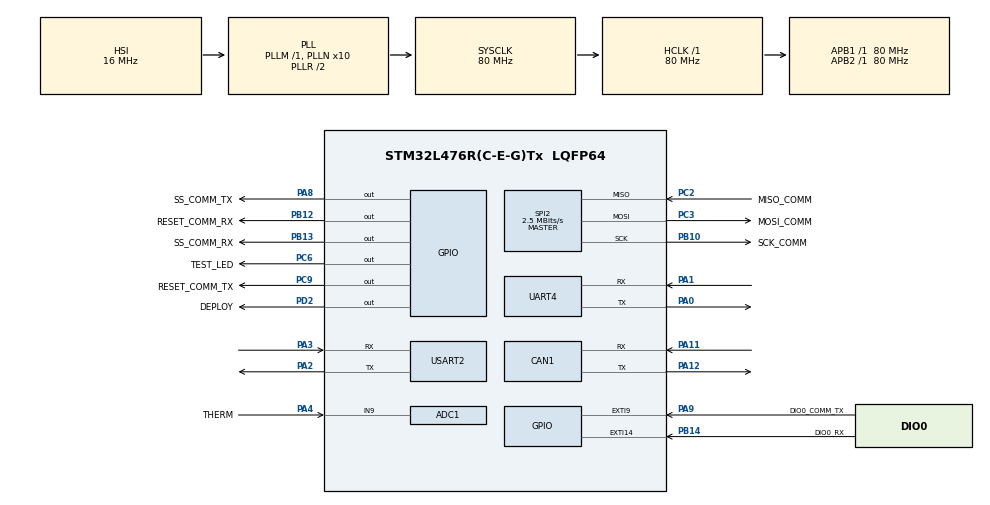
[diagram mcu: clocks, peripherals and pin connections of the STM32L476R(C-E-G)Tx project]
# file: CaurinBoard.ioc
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ADC1.Channel-0\#ChannelRegularConversion=ADC_CHANNEL_9
ADC1.NbrOfConversionFlag=1
ADC1.OffsetNumber-0\#ChannelRegularConversion=ADC_OFFSET_NONE
ADC1.Rank-0\#ChannelRegularConversion=1
ADC1.SamplingTime-0\#ChannelRegularConversion=ADC_SAMPLETIME_2CYCLES_5
ADC1.master=1
CAN1.BS1=CAN_BS1_4TQ
CAN1.CalculateTimeQuantum=200.0
Mcu.Family=STM32L4
Mcu.Name=STM32L476R(C-E-G)Tx
Mcu.Package=LQFP64
NVIC.EXTI15_10_IRQn=true\:0\:0\:false\:false\:true\:true\:true
NVIC.EXTI9_5_IRQn=true\:0\:0\:false\:false\:true\:true\:true
NVIC.PriorityGroup=NVIC_PRIORITYGROUP_4
PA0.Mode=Asynchronous
PA0.Signal=UART4_TX
PA1.Mode=Asynchronous
PA1.Signal=UART4_RX
PA11.Mode=Master
PA11.Signal=CAN1_RX
PA12.Mode=Master
PA12.Signal=CAN1_TX
PA13\ (JTMS-SWDIO).Mode=JTAG_5_pins
PA13\ (JTMS-SWDIO).Signal=SYS_JTMS-SWDIO
PA14\ (JTCK-SWCLK).Mode=JTAG_5_pins
PA14\ (JTCK-SWCLK).Signal=SYS_JTCK-SWCLK
PA15\ (JTDI).Mode=JTAG_5_pins
PA15\ (JTDI).Signal=SYS_JTDI
PA2.Mode=Asynchronous
PA2.Signal=USART2_TX
PA3.Mode=Asynchronous
PA3.Signal=USART2_RX
PA4.GPIO_Label=THERM
PA4.Signal=ADCx_IN9
PA8.GPIO_Label=SS_COMM_TX
PA8.PinState=GPIO_PIN_SET
PA8.Signal=GPIO_Output
PA9.GPIO_Label=DIO0_COMM_TX
PA9.Signal=GPXTI9
PB10.GPIO_Label=SCK_COMM
PB10.Mode=Full_Duplex_Master
PB10.Signal=SPI2_SCK
PB12.GPIO_Label=RESET_COMM_RX
PB12.PinState=GPIO_PIN_SET
PB12.Signal=GPIO_Output
PB13.GPIO_Label=SS_COMM_RX
PB13.PinState=GPIO_PIN_SET
PB13.Signal=GPIO_Output
PB14.GPIO_Label=DIO0_RX
PB14.Signal=GPXTI14
PB3\ (JTDO-TRACESWO).Mode=JTAG_5_pins
PB3\ (JTDO-TRACESWO).Signal=SYS_JTDO-SWO
PB4\ (NJTRST).Mode=JTAG_5_pins
PB4\ (NJTRST).Signal=SYS_JTRST
PC14-OSC32_IN\ (PC14).Mode=LSE-External-Oscillator
PC14-OSC32_IN\ (PC14).Signal=RCC_OSC32_IN
PC15-OSC32_OUT\ (PC15).Mode=LSE-External-Oscillator
PC15-OSC32_OUT\ (PC15).Signal=RCC_OSC32_OUT
PC2.GPIO_Label=MISO_COMM
PC2.Mode=Full_Duplex_Master
PC2.Signal=SPI2_MISO
PC3.GPIO_Label=MOSI_COMM
PC3.Mode=Full_Duplex_Master
PC3.Signal=SPI2_MOSI
PC6.GPIO_Label=TEST_LED
PC6.Signal=GPIO_Output
PC9.GPIO_Label=RESET_COMM_TX
PC9.PinState=GPIO_PIN_SET
PC9.Signal=GPIO_Output
PD2.GPIO_Label=DEPLOY
PD2.Signal=GPIO_Output
ProjectManager.HeapSize=0x200
ProjectManager.StackSize=0x400
ProjectManager.TargetToolchain=STM32CubeIDE
RCC.ADCFreq_Value=64000000
RCC.AHBFreq_Value=80000000
RCC.APB1Freq_Value=80000000
RCC.APB1TimFreq_Value=80000000
RCC.APB2Freq_Value=80000000
RCC.APB2TimFreq_Value=80000000
RCC.CortexFreq_Value=80000000
RCC.HCLKFreq_Value=80000000
RCC.HSE_VALUE=8000000
RCC.HSI_VALUE=16000000
RCC.MSI_VALUE=4000000
RCC.PLLN=10
RCC.PLLSourceVirtual=RCC_PLLSOURCE_HSI
RCC.SYSCLKFreq_VALUE=80000000
RCC.SYSCLKSource=RCC_SYSCLKSOURCE_PLLCLK
RCC.USBFreq_Value=64000000
RCC.VCOOutputFreq_Value=160000000
SH.ADCx_IN9.0=ADC1_IN9,IN9-Single-Ended
SPI2.BaudRatePrescaler=SPI_BAUDRATEPRESCALER_32
SPI2.CalculateBaudRate=2.5 MBits/s
SPI2.DataSize=SPI_DATASIZE_8BIT
SPI2.Direction=SPI_DIRECTION_2LINES
SPI2.Mode=SPI_MODE_MASTER
SPI2.VirtualType=VM_MASTER
TIM3.Period=0xffff
TIM3.Prescaler=79
USART2.VirtualMode-Asynchronous=VM_ASYNC
VP_TIM3_VS_ClockSourceINT.Mode=Internal
board=custom

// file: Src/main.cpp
/* USER CODE BEGIN Header */
/**
  ******************************************************************************
  * @file           : main.c
  * @brief          : Main program body
  ******************************************************************************
  * @attention
  *
  * <h2><center>&copy; Copyright (c) 2019 STMicroelectronics.
  * All rights reserved.</center></h2>
  *
  * This software component is licensed by ST under BSD 3-Clause license,
  * the "License"; You may not use this file except in compliance with the
  * License. You may obtain a copy of the License at:
  *                        opensource.org/licenses/BSD-3-Clause
  *
  ******************************************************************************
  */
/* USER CODE END Header */

#include "main.h"

/* USER CODE BEGIN Includes */
#include "lora.h"
#include "INA219.h"
#include "zenith_can_lib.h"

/* USER CODE END Includes */

/* USER CODE BEGIN PD */
#define VARELA_BRD_ID 1
#define ALVES_BRD_ID 2
#define COMIN_BRD_ID 3
/* USER CODE END PD */

ADC_HandleTypeDef hadc1;

CAN_HandleTypeDef hcan1;

SPI_HandleTypeDef hspi2;

TIM_HandleTypeDef htim3;

UART_HandleTypeDef huart4;
UART_HandleTypeDef huart2;

/* USER CODE BEGIN PV */
Z_CAN_Package can_rx_pkg;
Z_CAN_Package can_tx_pkg;

LoRaClass loraRX, loraTX;
int32_t packetSize;
int32_t counter = 0;
uint8_t RxData[128];
uint32_t RxDataLength;
/*
typedef struct {
	//INA ina[8];
	float ext;
	float inter;
	float curr;
	float volt;
}LoRaPacket;
*/

//INA lorapacket[8];

typedef struct {
	//INA ina[8];
	float v_bat;
	float v_charger;
	float v_p1;
	float v_p2;

//	float i_bat;
//	float i_charger;
//	float i_p1;
//	float i_p2;
}LoRaPacket;

LoRaPacket lorapacket, lorapacketRX;

typedef struct {
	uint32_t a;
	int32_t b;
	char c;
	int8_t d;
	void* e;
}TestStruct;

TestStruct t1, t2;

float temp;

int i = 0, j = 0;
/* USER CODE END PV */

void SystemClock_Config(void);
static void MX_GPIO_Init(void);
static void MX_SPI2_Init(void);
static void MX_TIM3_Init(void);
static void MX_USART2_UART_Init(void);
static void MX_ADC1_Init(void);
static void MX_CAN1_Init(void);
static void MX_UART4_Init(void);
/* USER CODE BEGIN PFP */
void atualizaCAN(Z_CAN_Package can_rx_pkg, LoRaPacket* lorapacket);
float tempADC(ADC_HandleTypeDef* phadc, float R0);
/* USER CODE END PFP */

int main(void)
{

  /* MCU Configuration--------------------------------------------------------*/

  /* Reset of all peripherals, Initializes the Flash interface and the Systick. */
  HAL_Init();

  /* Configure the system clock */
  SystemClock_Config();

  /* Initialize all configured peripherals */
  MX_GPIO_Init();
  MX_SPI2_Init();
  MX_TIM3_Init();
  MX_USART2_UART_Init();
  MX_ADC1_Init();
  MX_CAN1_Init();
  MX_UART4_Init();
  /* USER CODE BEGIN 2 */

  // OBSERCACOES
  // Falta mudar a frequencia de um dos radios na funcao begin()
  // Falta verificar como a interupcao (DIO0) funciona

  //Inicializacao LoRa RX
  loraRX.setPins(SS_COMM_RX_GPIO_Port, SS_COMM_RX_Pin, RESET_COMM_RX_GPIO_Port, RESET_COMM_RX_Pin, EXTI15_10_IRQn);
  loraRX.setSPI(&hspi2);
  loraRX.setTIM(&htim3);

  if (!loraRX.begin(433.123E6)) {
   	  //printf("Starting LoRa RX failed!\n");
	  //memcpy(consoleData, "Starting LoRa RX failed!\n", 26);
	  //HAL_UART_Transmit(&huart2, consoleData, 26, 100);
   	  while (1);
  }

  loraRX.setSignalBandwidth(125E3);
  loraRX.setSpreadingFactor(11);
  loraRX.enableCrc();
  loraRX.receive();
  //printf("LoRa RX started\n");
  //memcpy(consoleData, "LoRa RX started\n", 17);
  //HAL_UART_Transmit(&huart2, consoleData, 17, 100);

  //Inicializacao LoRa TX
  loraTX.setPins(SS_COMM_TX_GPIO_Port, SS_COMM_TX_Pin, RESET_COMM_TX_GPIO_Port, RESET_COMM_TX_Pin, EXTI9_5_IRQn);
  loraTX.setSPI(&hspi2);
  loraTX.setTIM(&htim3);

  if (!loraTX.begin(433.123E6)) {
     printf("Starting LoRa RX failed!\n");
     while (1);
  }
  loraTX.setTxPower(20, 1);
  loraTX.setSignalBandwidth(125E3);
  loraTX.setSpreadingFactor(11);
  loraTX.enableCrc();
  printf("LoRa TX started\n");

  // Initializing CAN Filter
  filterConfigCAN(&hcan1);
  HAL_CAN_Start(&hcan1);

  uint32_t lorareset = 0;
  memcpy(&lorapacket, "To vivo", sizeof(lorapacket));
  /* USER CODE END 2 */

  /* Infinite loop */
  while (1)
  {

    /* USER CODE BEGIN 3 */

	  //Receber comando
	  if(i++ == 1 || RxData[4] == 'I'){
		  HAL_Delay(1000);
	  	  loraRX.readPacket(&RxData, 10);
	  	  i = 0;
	  }
	  if( RxData[2] == 'M' && RxData[3] == 'M'){
		  if(RxData[4] == 'I'){					//INAs
			  HAL_GPIO_TogglePin(TEST_LED_GPIO_Port, TEST_LED_Pin);
			  loraTX.sendPacket(&lorapacket, sizeof(lorapacket));
			  loraRX.reset();
		  }
		  else if(RxData[4] == 'D'){			//DEPLOY
			  HAL_GPIO_WritePin(DEPLOY_GPIO_Port, DEPLOY_Pin, GPIO_PIN_SET);
			  HAL_Delay(4000);
			  HAL_GPIO_WritePin(DEPLOY_GPIO_Port, DEPLOY_Pin, GPIO_PIN_RESET);
		  }
		  else if(RxData[4] == 'E'){			//ESTABILIZACAO

		  }
		  else if(RxData[4] == 'A'){			//APONTAMENTO

		  }
	  }

	  lorareset++;
	  if(lorareset > 10){
		  loraTX.reset();
		  loraRX.reset();
		  lorareset = 0;
	  }

	  continue;

	  //packetSize = loraRX.parsePacket();
	  //loraRX.readPacket(&RxData, 100);
	  //if(RxData[0] != 0)
		  //lorapacket.volt = 10.6;
	  //loraTX.sendPacket(&lorapacket, sizeof(LoRaPacket));

	  temp = 0;
	  for(int k = 0; k < 5; k++)
	  	temp += tempADC(&hadc1, 4000);
	  temp /= 5;
	  //lorapacket.ext = temp;

	  //Receive CAN Message
	  for(int k = 0; k < 100; k++){
		  can_rx_pkg = readCanMessages(&hcan1);
	  	  atualizaCAN(can_rx_pkg, &lorapacket);
	  }

	  continue;
	  if(isEqual(can_rx_pkg, NULL_MSG)){				//Invalid Message
		  continue;
	  }

	  if(can_rx_pkg.identifier == 1){
		  float f;
	  	  memcpy(&f, can_rx_pkg.data, sizeof(float));
	  	  //lorapacket.inter = f;

	  }

	  if(can_rx_pkg.identifier == 3){					// Bateria
		  float f1, f2;
		  memcpy(&f1, can_rx_pkg.data, sizeof(float));
		  //lorapacket.curr = f1;
		  //lorapacket.i_bat = f1;
		  memcpy(&f2, can_rx_pkg.data + sizeof(float), sizeof(float));
		  //lorapacket.volt = f2;
		  lorapacket.v_bat = f2;
	  }
	  if(can_rx_pkg.identifier == 2){					// Charger
		  float f1, f2;
		  memcpy(&f1, can_rx_pkg.data, sizeof(float));
		  //lorapacket.curr = f1;
		  //lorapacket.i_charger = f1;
		  memcpy(&f2, can_rx_pkg.data + sizeof(float), sizeof(float));
		  //lorapacket.volt = f2;
		  lorapacket.v_charger = f2;
	  }
	  if(can_rx_pkg.identifier == 8){					// Painel 1
		  float f1, f2;
		  memcpy(&f1, can_rx_pkg.data, sizeof(float));
		  //lorapacket.curr = f1;
		  //lorapacket.i_p1 = f1;
		  memcpy(&f2, can_rx_pkg.data + sizeof(float), sizeof(float));
		  //lorapacket.volt = f2;
		  if(f2 < 3.3)
			  f2 = f2*10;
		  lorapacket.v_p1 = f2;
	  }
	  if(can_rx_pkg.identifier == 7){					// Painel 2
		  float f1, f2;
		  memcpy(&f1, can_rx_pkg.data, sizeof(float));
		  //lorapacket.curr = f1;
		  //lorapacket.i_p2 = f1;
		  memcpy(&f2, can_rx_pkg.data + sizeof(float), sizeof(float));
		  //lorapacket.volt = f2;
		  if(f2 < 3.3)
		  		f2 = f2*10;
		  lorapacket.v_p2 = f2;
	  }
	  continue;
	  /*
	  else if(can_rx_pkg.identifier == VARELA_BRD_ID){	//Varela Message
		  uint8_t ina_id = can_rx_pkg.data[6];

		  if(can_rx_pkg.data[7] == 1){						//shuntvoltage
			  memcpy(&(lorapacket.ina[ina_id].shuntvoltage), can_rx_pkg.data, sizeof(float));
		  }
		  else if(can_rx_pkg.data[7] == 2){					//busvoltage
			  memcpy(&(lorapacket.ina[ina_id].busvoltage), can_rx_pkg.data, sizeof(float));
		  }
		  else if(can_rx_pkg.data[7] == 3){					//current_mA
			  memcpy(&(lorapacket.ina[ina_id].current_mA), can_rx_pkg.data, sizeof(float));
		  }
		  else if(can_rx_pkg.data[7] == 4){					//power_mW
			  memcpy(&(lorapacket.ina[ina_id].power_mW), can_rx_pkg.data, sizeof(float));
		  }
		  else if(can_rx_pkg.data[7] == 5){					//loadvoltage
			  memcpy(&(lorapacket.ina[ina_id].loadvoltage), can_rx_pkg.data, sizeof(float));
		  }

	  }
	  else if(can_rx_pkg.identifier == ALVES_BRD_ID){	//Alves Message

	  }
	  else if(can_rx_pkg.identifier == COMIN_BRD_ID){	//Comin Message

	  }
	  */

	  //Teste LoRa com funcoes proprias
	  uint8_t teste[32] = "Teste";
	  loraTX.sendPacket(teste, sizeof(teste));
	  loraRX.readPacket(RxData, sizeof(RxData));

	  t1.a = counter;
	  t1.b = -75;
	  t1.c = '#';
	  t1.d = 128;
	  t1.e = RxData;

	  loraTX.sendPacket(&t1, sizeof(t1));
	  loraRX.readPacket(&t2, sizeof(t2));

	  //Transmissao de pacote
	  printf("Sending packet: %d\n", counter);

	  // send packet
	  loraTX.beginPacket();
	  loraTX.print("alo ");
	  loraTX.print(counter);
	  loraTX.print("\n");
	  loraTX.print("LF working");
	  loraTX.endPacket();

	  counter++;

	  //Recepcao de pacote
	  packetSize = loraRX.parsePacket();

	  if (packetSize) {
	  	printf("Recieved LoRa Packet:\n");
	  }

	  while (loraRX.available()) {
	  	//printf("%c", (char)loraRX.read());
		RxData[RxDataLength++] = (char)loraRX.read();
	  }
	  HAL_Delay(1500);
  }
  /* USER CODE END 3 */
}

void SystemClock_Config(void)
{
  RCC_OscInitTypeDef RCC_OscInitStruct = {0};
  RCC_ClkInitTypeDef RCC_ClkInitStruct = {0};
  RCC_PeriphCLKInitTypeDef PeriphClkInit = {0};

  /** Initializes the CPU, AHB and APB busses clocks
  */
  RCC_OscInitStruct.OscillatorType = RCC_OSCILLATORTYPE_HSI;
  RCC_OscInitStruct.HSIState = RCC_HSI_ON;
  RCC_OscInitStruct.HSICalibrationValue = RCC_HSICALIBRATION_DEFAULT;
  RCC_OscInitStruct.PLL.PLLState = RCC_PLL_ON;
  RCC_OscInitStruct.PLL.PLLSource = RCC_PLLSOURCE_HSI;
  RCC_OscInitStruct.PLL.PLLM = 1;
  RCC_OscInitStruct.PLL.PLLN = 10;
  RCC_OscInitStruct.PLL.PLLP = RCC_PLLP_DIV7;
  RCC_OscInitStruct.PLL.PLLQ = RCC_PLLQ_DIV2;
  RCC_OscInitStruct.PLL.PLLR = RCC_PLLR_DIV2;
  if (HAL_RCC_OscConfig(&RCC_OscInitStruct) != HAL_OK)
  {
    Error_Handler();
  }
  /** Initializes the CPU, AHB and APB busses clocks
  */
  RCC_ClkInitStruct.ClockType = RCC_CLOCKTYPE_HCLK|RCC_CLOCKTYPE_SYSCLK
                              |RCC_CLOCKTYPE_PCLK1|RCC_CLOCKTYPE_PCLK2;
  RCC_ClkInitStruct.SYSCLKSource = RCC_SYSCLKSOURCE_PLLCLK;
  RCC_ClkInitStruct.AHBCLKDivider = RCC_SYSCLK_DIV1;
  RCC_ClkInitStruct.APB1CLKDivider = RCC_HCLK_DIV1;
  RCC_ClkInitStruct.APB2CLKDivider = RCC_HCLK_DIV1;

  if (HAL_RCC_ClockConfig(&RCC_ClkInitStruct, FLASH_LATENCY_4) != HAL_OK)
  {
    Error_Handler();
  }
  PeriphClkInit.PeriphClockSelection = RCC_PERIPHCLK_USART2|RCC_PERIPHCLK_UART4
                              |RCC_PERIPHCLK_ADC;
  PeriphClkInit.Usart2ClockSelection = RCC_USART2CLKSOURCE_PCLK1;
  PeriphClkInit.Uart4ClockSelection = RCC_UART4CLKSOURCE_PCLK1;
  PeriphClkInit.AdcClockSelection = RCC_ADCCLKSOURCE_PLLSAI1;
  PeriphClkInit.PLLSAI1.PLLSAI1Source = RCC_PLLSOURCE_HSI;
  PeriphClkInit.PLLSAI1.PLLSAI1M = 1;
  PeriphClkInit.PLLSAI1.PLLSAI1N = 8;
  PeriphClkInit.PLLSAI1.PLLSAI1P = RCC_PLLP_DIV7;
  PeriphClkInit.PLLSAI1.PLLSAI1Q = RCC_PLLQ_DIV2;
  PeriphClkInit.PLLSAI1.PLLSAI1R = RCC_PLLR_DIV2;
  PeriphClkInit.PLLSAI1.PLLSAI1ClockOut = RCC_PLLSAI1_ADC1CLK;
  if (HAL_RCCEx_PeriphCLKConfig(&PeriphClkInit) != HAL_OK)
  {
    Error_Handler();
  }
  /** Configure the main internal regulator output voltage
  */
  if (HAL_PWREx_ControlVoltageScaling(PWR_REGULATOR_VOLTAGE_SCALE1) != HAL_OK)
  {
    Error_Handler();
  }
}

static void MX_ADC1_Init(void)
{

  ADC_MultiModeTypeDef multimode = {0};
  ADC_ChannelConfTypeDef sConfig = {0};

  /** Common config
  */
  hadc1.Instance = ADC1;
  hadc1.Init.ClockPrescaler = ADC_CLOCK_ASYNC_DIV1;
  hadc1.Init.Resolution = ADC_RESOLUTION_12B;
  hadc1.Init.DataAlign = ADC_DATAALIGN_RIGHT;
  hadc1.Init.ScanConvMode = ADC_SCAN_DISABLE;
  hadc1.Init.EOCSelection = ADC_EOC_SINGLE_CONV;
  hadc1.Init.LowPowerAutoWait = DISABLE;
  hadc1.Init.ContinuousConvMode = DISABLE;
  hadc1.Init.NbrOfConversion = 1;
  hadc1.Init.DiscontinuousConvMode = DISABLE;
  hadc1.Init.ExternalTrigConv = ADC_SOFTWARE_START;
  hadc1.Init.ExternalTrigConvEdge = ADC_EXTERNALTRIGCONVEDGE_NONE;
  hadc1.Init.DMAContinuousRequests = DISABLE;
  hadc1.Init.Overrun = ADC_OVR_DATA_PRESERVED;
  hadc1.Init.OversamplingMode = DISABLE;
  if (HAL_ADC_Init(&hadc1) != HAL_OK)
  {
    Error_Handler();
  }
  /** Configure the ADC multi-mode
  */
  multimode.Mode = ADC_MODE_INDEPENDENT;
  if (HAL_ADCEx_MultiModeConfigChannel(&hadc1, &multimode) != HAL_OK)
  {
    Error_Handler();
  }
  /** Configure Regular Channel
  */
  sConfig.Channel = ADC_CHANNEL_9;
  sConfig.Rank = ADC_REGULAR_RANK_1;
  sConfig.SamplingTime = ADC_SAMPLETIME_2CYCLES_5;
  sConfig.SingleDiff = ADC_SINGLE_ENDED;
  sConfig.OffsetNumber = ADC_OFFSET_NONE;
  sConfig.Offset = 0;
  if (HAL_ADC_ConfigChannel(&hadc1, &sConfig) != HAL_OK)
  {
    Error_Handler();
  }

}

static void MX_CAN1_Init(void)
{

  hcan1.Instance = CAN1;
  hcan1.Init.Prescaler = 16;
  hcan1.Init.Mode = CAN_MODE_NORMAL;
  hcan1.Init.SyncJumpWidth = CAN_SJW_1TQ;
  hcan1.Init.TimeSeg1 = CAN_BS1_4TQ;
  hcan1.Init.TimeSeg2 = CAN_BS2_1TQ;
  hcan1.Init.TimeTriggeredMode = DISABLE;
  hcan1.Init.AutoBusOff = DISABLE;
  hcan1.Init.AutoWakeUp = DISABLE;
  hcan1.Init.AutoRetransmission = DISABLE;
  hcan1.Init.ReceiveFifoLocked = DISABLE;
  hcan1.Init.TransmitFifoPriority = DISABLE;
  if (HAL_CAN_Init(&hcan1) != HAL_OK)
  {
    Error_Handler();
  }

}

static void MX_SPI2_Init(void)
{

  /* SPI2 parameter configuration*/
  hspi2.Instance = SPI2;
  hspi2.Init.Mode = SPI_MODE_MASTER;
  hspi2.Init.Direction = SPI_DIRECTION_2LINES;
  hspi2.Init.DataSize = SPI_DATASIZE_8BIT;
  hspi2.Init.CLKPolarity = SPI_POLARITY_LOW;
  hspi2.Init.CLKPhase = SPI_PHASE_1EDGE;
  hspi2.Init.NSS = SPI_NSS_SOFT;
  hspi2.Init.BaudRatePrescaler = SPI_BAUDRATEPRESCALER_32;
  hspi2.Init.FirstBit = SPI_FIRSTBIT_MSB;
  hspi2.Init.TIMode = SPI_TIMODE_DISABLE;
  hspi2.Init.CRCCalculation = SPI_CRCCALCULATION_DISABLE;
  hspi2.Init.CRCPolynomial = 7;
  hspi2.Init.CRCLength = SPI_CRC_LENGTH_DATASIZE;
  hspi2.Init.NSSPMode = SPI_NSS_PULSE_ENABLE;
  if (HAL_SPI_Init(&hspi2) != HAL_OK)
  {
    Error_Handler();
  }

}

static void MX_TIM3_Init(void)
{

  TIM_ClockConfigTypeDef sClockSourceConfig = {0};
  TIM_MasterConfigTypeDef sMasterConfig = {0};

  htim3.Instance = TIM3;
  htim3.Init.Prescaler = 79;
  htim3.Init.CounterMode = TIM_COUNTERMODE_UP;
  htim3.Init.Period = 0xffff;
  htim3.Init.ClockDivision = TIM_CLOCKDIVISION_DIV1;
  htim3.Init.AutoReloadPreload = TIM_AUTORELOAD_PRELOAD_DISABLE;
  if (HAL_TIM_Base_Init(&htim3) != HAL_OK)
  {
    Error_Handler();
  }
  sClockSourceConfig.ClockSource = TIM_CLOCKSOURCE_INTERNAL;
  if (HAL_TIM_ConfigClockSource(&htim3, &sClockSourceConfig) != HAL_OK)
  {
    Error_Handler();
  }
  sMasterConfig.MasterOutputTrigger = TIM_TRGO_RESET;
  sMasterConfig.MasterSlaveMode = TIM_MASTERSLAVEMODE_DISABLE;
  if (HAL_TIMEx_MasterConfigSynchronization(&htim3, &sMasterConfig) != HAL_OK)
  {
    Error_Handler();
  }

}

static void MX_UART4_Init(void)
{

  huart4.Instance = UART4;
  huart4.Init.BaudRate = 115200;
  huart4.Init.WordLength = UART_WORDLENGTH_8B;
  huart4.Init.StopBits = UART_STOPBITS_1;
  huart4.Init.Parity = UART_PARITY_NONE;
  huart4.Init.Mode = UART_MODE_TX_RX;
  huart4.Init.HwFlowCtl = UART_HWCONTROL_NONE;
  huart4.Init.OverSampling = UART_OVERSAMPLING_16;
  huart4.Init.OneBitSampling = UART_ONE_BIT_SAMPLE_DISABLE;
  huart4.AdvancedInit.AdvFeatureInit = UART_ADVFEATURE_NO_INIT;
  if (HAL_UART_Init(&huart4) != HAL_OK)
  {
    Error_Handler();
  }

}

static void MX_USART2_UART_Init(void)
{

  huart2.Instance = USART2;
  huart2.Init.BaudRate = 115200;
  huart2.Init.WordLength = UART_WORDLENGTH_8B;
  huart2.Init.StopBits = UART_STOPBITS_1;
  huart2.Init.Parity = UART_PARITY_NONE;
  huart2.Init.Mode = UART_MODE_TX_RX;
  huart2.Init.HwFlowCtl = UART_HWCONTROL_NONE;
  huart2.Init.OverSampling = UART_OVERSAMPLING_16;
  huart2.Init.OneBitSampling = UART_ONE_BIT_SAMPLE_DISABLE;
  huart2.AdvancedInit.AdvFeatureInit = UART_ADVFEATURE_NO_INIT;
  if (HAL_UART_Init(&huart2) != HAL_OK)
  {
    Error_Handler();
  }

}

static void MX_GPIO_Init(void)
{
  GPIO_InitTypeDef GPIO_InitStruct = {0};

  /* GPIO Ports Clock Enable */
  __HAL_RCC_GPIOC_CLK_ENABLE();
  __HAL_RCC_GPIOA_CLK_ENABLE();
  __HAL_RCC_GPIOB_CLK_ENABLE();
  __HAL_RCC_GPIOD_CLK_ENABLE();

  /*Configure GPIO pin Output Level */
  HAL_GPIO_WritePin(GPIOB, RESET_COMM_RX_Pin|SS_COMM_RX_Pin, GPIO_PIN_SET);

  /*Configure GPIO pin Output Level */
  HAL_GPIO_WritePin(TEST_LED_GPIO_Port, TEST_LED_Pin, GPIO_PIN_RESET);

  /*Configure GPIO pin Output Level */
  HAL_GPIO_WritePin(RESET_COMM_TX_GPIO_Port, RESET_COMM_TX_Pin, GPIO_PIN_SET);

  /*Configure GPIO pin Output Level */
  HAL_GPIO_WritePin(SS_COMM_TX_GPIO_Port, SS_COMM_TX_Pin, GPIO_PIN_SET);

  /*Configure GPIO pin Output Level */
  HAL_GPIO_WritePin(DEPLOY_GPIO_Port, DEPLOY_Pin, GPIO_PIN_RESET);

  /*Configure GPIO pins : RESET_COMM_RX_Pin SS_COMM_RX_Pin */
  GPIO_InitStruct.Pin = RESET_COMM_RX_Pin|SS_COMM_RX_Pin;
  GPIO_InitStruct.Mode = GPIO_MODE_OUTPUT_PP;
  GPIO_InitStruct.Pull = GPIO_NOPULL;
  GPIO_InitStruct.Speed = GPIO_SPEED_FREQ_LOW;
  HAL_GPIO_Init(GPIOB, &GPIO_InitStruct);

  /*Configure GPIO pin : DIO0_RX_Pin */
  GPIO_InitStruct.Pin = DIO0_RX_Pin;
  GPIO_InitStruct.Mode = GPIO_MODE_IT_RISING;
  GPIO_InitStruct.Pull = GPIO_NOPULL;
  HAL_GPIO_Init(DIO0_RX_GPIO_Port, &GPIO_InitStruct);

  /*Configure GPIO pins : TEST_LED_Pin RESET_COMM_TX_Pin */
  GPIO_InitStruct.Pin = TEST_LED_Pin|RESET_COMM_TX_Pin;
  GPIO_InitStruct.Mode = GPIO_MODE_OUTPUT_PP;
  GPIO_InitStruct.Pull = GPIO_NOPULL;
  GPIO_InitStruct.Speed = GPIO_SPEED_FREQ_LOW;
  HAL_GPIO_Init(GPIOC, &GPIO_InitStruct);

  /*Configure GPIO pin : SS_COMM_TX_Pin */
  GPIO_InitStruct.Pin = SS_COMM_TX_Pin;
  GPIO_InitStruct.Mode = GPIO_MODE_OUTPUT_PP;
  GPIO_InitStruct.Pull = GPIO_NOPULL;
  GPIO_InitStruct.Speed = GPIO_SPEED_FREQ_LOW;
  HAL_GPIO_Init(SS_COMM_TX_GPIO_Port, &GPIO_InitStruct);

  /*Configure GPIO pin : DIO0_COMM_TX_Pin */
  GPIO_InitStruct.Pin = DIO0_COMM_TX_Pin;
  GPIO_InitStruct.Mode = GPIO_MODE_IT_RISING;
  GPIO_InitStruct.Pull = GPIO_NOPULL;
  HAL_GPIO_Init(DIO0_COMM_TX_GPIO_Port, &GPIO_InitStruct);

  /*Configure GPIO pin : DEPLOY_Pin */
  GPIO_InitStruct.Pin = DEPLOY_Pin;
  GPIO_InitStruct.Mode = GPIO_MODE_OUTPUT_PP;
  GPIO_InitStruct.Pull = GPIO_NOPULL;
  GPIO_InitStruct.Speed = GPIO_SPEED_FREQ_LOW;
  HAL_GPIO_Init(DEPLOY_GPIO_Port, &GPIO_InitStruct);

  /* EXTI interrupt init*/
  HAL_NVIC_SetPriority(EXTI9_5_IRQn, 0, 0);
  HAL_NVIC_EnableIRQ(EXTI9_5_IRQn);

  HAL_NVIC_SetPriority(EXTI15_10_IRQn, 0, 0);
  HAL_NVIC_EnableIRQ(EXTI15_10_IRQn);

}

/* USER CODE BEGIN 4 */
void HAL_GPIO_EXTI_Callback (uint16_t GPIO_Pin){
	if(GPIO_Pin == DIO0_COMM_TX_Pin){
		loraTX.onDio0Rise();
	}
	if(GPIO_Pin == DIO0_RX_Pin){
		loraRX.onDio0Rise();
	}
}

void atualizaCAN(Z_CAN_Package can_rx_pkg, LoRaPacket* lorapacket){
	  if(isEqual(can_rx_pkg, NULL_MSG)){				//Invalid Message
		  return;
	  }

	  if(can_rx_pkg.identifier == 1){
		  float f;
	  	  memcpy(&f, can_rx_pkg.data, sizeof(float));
	  	  //lorapacket.inter = f;

	  }

	  if(can_rx_pkg.identifier == 3){					// Bateria
		  float f1, f2;
		  memcpy(&f1, can_rx_pkg.data, sizeof(float));
		  //lorapacket.curr = f1;
		  //lorapacket.i_bat = f1;
		  memcpy(&f2, can_rx_pkg.data + sizeof(float), sizeof(float));
		  //lorapacket.volt = f2;
		  lorapacket->v_bat = f2;
	  }
	  if(can_rx_pkg.identifier == 2){					// Charger
		  float f1, f2;
		  memcpy(&f1, can_rx_pkg.data, sizeof(float));
		  //lorapacket.curr = f1;
		  //lorapacket.i_charger = f1;
		  memcpy(&f2, can_rx_pkg.data + sizeof(float), sizeof(float));
		  //lorapacket.volt = f2;
		  lorapacket->v_charger = f2;
	  }
	  if(can_rx_pkg.identifier == 8){					// Painel 1
		  float f1, f2;
		  memcpy(&f1, can_rx_pkg.data, sizeof(float));
		  //lorapacket.curr = f1;
		  //lorapacket.i_p1 = f1;
		  memcpy(&f2, can_rx_pkg.data + sizeof(float), sizeof(float));
		  //lorapacket.volt = f2;
		  if(f2 < 3.3)
			  f2 = f2*10;
		  lorapacket->v_p1 = f2;
	  }
	  if(can_rx_pkg.identifier == 7){					// Painel 2
		  float f1, f2;
		  memcpy(&f1, can_rx_pkg.data, sizeof(float));
		  //lorapacket.curr = f1;
		  //lorapacket.i_p2 = f1;
		  memcpy(&f2, can_rx_pkg.data + sizeof(float), sizeof(float));
		  //lorapacket.volt = f2;
		  if(f2 < 3.3)
		  		f2 = f2*10;
		  lorapacket->v_p2 = f2;
	  }
}

float tempADC(ADC_HandleTypeDef* phadc, float R0){
	//Internal Variables
	uint32_t adc_val;
	float V;
	float R;
	float T;

	//Converting Constants
	const float B = 3900.0;
	const float T0 = 298.15;
	const float R_div = 100.0;
	const float V_ref = 3.3;

	//Read adc voltage
	HAL_ADC_Start(phadc);
	if(HAL_ADC_PollForConversion(phadc, 100) == HAL_OK){
		adc_val = HAL_ADC_GetValue(phadc);
		V = (float)((float)adc_val*3.3)/4095.0;
	}
	HAL_ADC_Stop(phadc);

	//Convert Voltage into Resistance
	R = (V * R_div)/(V_ref - V);

	//Convert Resistance into Temperature
	T = (T0 * B)/(T0*log(R/R0) + B);

	//Kelvin to Celsius
	T =  T - 273.15;

	return T;
}
/* USER CODE END 4 */

void Error_Handler(void)
{
}

/************************ (C) COPYRIGHT STMicroelectronics *****END OF FILE****/
